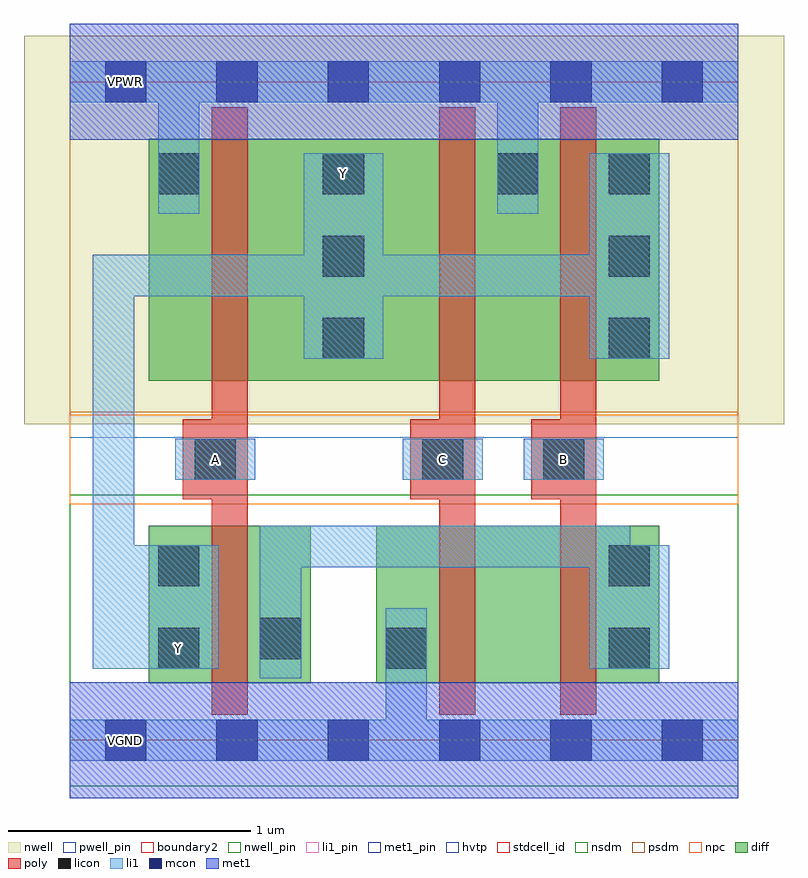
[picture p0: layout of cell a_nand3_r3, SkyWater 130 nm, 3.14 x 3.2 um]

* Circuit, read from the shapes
.subckt a_nand3_r3 A B C VGND VNB VPB VPWR Y
XM1 n1 A Y VNB sky130_fd_pr__nfet_01v8 w=0.65 l=0.15
XM2 n2 C VGND VNB sky130_fd_pr__nfet_01v8 w=0.65 l=0.15
XM3 n1 B n2 VNB sky130_fd_pr__nfet_01v8 w=0.65 l=0.15
XM4 Y A VPWR VPB sky130_fd_pr__pfet_01v8_hvt w=1 l=0.15
XM5 VPWR C Y VPB sky130_fd_pr__pfet_01v8_hvt w=1 l=0.15
XM6 Y B VPWR VPB sky130_fd_pr__pfet_01v8_hvt w=1 l=0.15
.ends

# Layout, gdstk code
import gdstk
lib = gdstk.Library(unit=1e-6, precision=1e-09)
def R(c, l, rs):  # rectangles x0, y0, x1, y1
    for r in rs: c.add(gdstk.rectangle(r[:2], r[2:], *l))
def A(c, l, x, y, w, h, nx, ny, dx, dy):  # array of equal rectangles
    R(c, l, [(x+i*dx, y+j*dy, x+i*dx+w, y+j*dy+h) for i in range(nx) for j in range(ny)])
nwell_pin = (64, 16)
nwell = (64, 20)
diff = (65, 20)
poly = (66, 20)
licon = (66, 44)
li1_pin = (67, 16)
li1 = (67, 20)
mcon = (67, 44)
met1_pin = (68, 16)
met1 = (68, 20)
hvtp = (78, 44)
stdcell_id = (81, 4)
nsdm = (93, 44)
psdm = (94, 20)
npc = (95, 20)
pwell_pin = (122, 16)
boundary2 = (236, 0)

a_nand3_r3 = lib.new_cell('a_nand3_r3')
R(a_nand3_r3, nwell_pin, [(0.145,2.635,0.315,2.805)])
R(a_nand3_r3, nwell, [(-0.19,1.305,2.95,2.91)])
R(a_nand3_r3, diff, [(0.325,0.235,0.995,0.885), (1.265,0.235,1.85,0.885), (1.85,0.235,2.435,0.885), (0.325,1.485,1.13,2.485), (1.13,1.485,1.85,2.485), (1.85,1.485,2.435,2.485)])
R(a_nand3_r3, poly, [(0.585,0.105,0.735,2.615), (1.525,0.105,1.675,2.615), (2.025,0.105,2.175,2.615), (0.465,0.995,0.735,1.325), (1.405,0.995,1.675,1.325), (1.905,0.995,2.175,1.325)])
A(a_nand3_r3, licon, 1.045, 1.575, 0.17, 0.17, 1, 3, 0, 0.34)
A(a_nand3_r3, licon, 2.225, 1.575, 0.17, 0.17, 1, 3, 0, 0.34)
R(a_nand3_r3, licon, [(0.365,0.295,0.535,0.465), (1.305,0.295,1.475,0.465), (2.225,0.295,2.395,0.465), (0.785,0.335,0.955,0.505), (0.365,0.635,0.535,0.805), (2.225,0.635,2.395,0.805), (0.515,1.075,0.685,1.245), (1.455,1.075,1.625,1.245), (1.955,1.075,2.125,1.245), (0.365,2.255,0.535,2.425), (1.765,2.255,1.935,2.425)])
R(a_nand3_r3, li1_pin, [(0.365,0.295,0.535,0.465), (0.515,1.075,0.685,1.245), (1.455,1.075,1.625,1.245), (1.955,1.075,2.125,1.245), (1.045,2.255,1.215,2.425)])
R(a_nand3_r3, li1, [(0,-0.085,2.76,0.085), (1.305,-0.085,1.475,0.545), (0.785,0.255,0.955,0.585), (0.095,0.295,0.455,0.465), (0.095,0.295,0.265,2.005), (0.265,0.295,0.285,0.465), (0.265,0.295,0.285,0.465), (0.265,0.295,0.285,0.465), (0.265,0.295,0.285,0.465), (0.265,0.295,0.285,0.805), (0.265,0.295,0.285,0.805), (0.265,0.295,0.285,0.805), (0.265,0.295,0.285,0.805), (0.285,0.295,0.615,0.465), (0.285,0.295,0.615,0.805), (2.145,0.295,2.475,0.465), (2.145,0.295,2.315,0.885), (2.145,0.295,2.475,0.805), (0.785,0.415,0.955,0.885), (0.785,0.585,0.955,0.715), (0.785,0.585,0.955,0.715), (0.785,0.585,0.955,0.715), (0.785,0.585,0.955,0.715), (0.785,0.715,2.315,0.885), (0.435,1.075,0.765,1.245), (1.375,1.075,1.705,1.245), (1.875,1.075,2.205,1.245), (0.965,1.575,1.295,2.085), (2.145,1.575,2.475,2.085), (0.095,1.835,1.135,2.005), (0.965,1.835,1.135,2.425), (0.965,1.835,2.315,2.005), (2.145,1.835,2.315,2.425), (0.965,1.915,1.295,2.425), (2.145,1.915,2.475,2.425), (0.365,2.175,0.535,2.805), (1.765,2.175,1.935,2.805), (0.965,2.255,1.295,2.425), (2.145,2.255,2.475,2.425), (0,2.635,2.76,2.805)])
A(a_nand3_r3, mcon, 0.145, -0.085, 0.17, 0.17, 6, 2, 0.46, 2.72)
R(a_nand3_r3, met1_pin, [(0.145,-0.085,0.315,0.085), (0.145,2.635,0.315,2.805)])
R(a_nand3_r3, met1, [(0,-0.24,2.76,0.24), (0,2.48,2.76,2.96)])
R(a_nand3_r3, hvtp, [(0,1.25,2.76,2.72)])
R(a_nand3_r3, stdcell_id, [(0,0,2.76,2.72)])
R(a_nand3_r3, nsdm, [(0,-0.19,2.76,1.015)])
R(a_nand3_r3, psdm, [(0,1.355,2.76,2.91)])
R(a_nand3_r3, npc, [(0,0.975,2.76,1.345)])
R(a_nand3_r3, pwell_pin, [(0.145,-0.085,0.315,0.085)])
R(a_nand3_r3, boundary2, [(0,0,2.76,2.72)])
a_nand3_r3.add(gdstk.Label('A', (0.6,1.16), layer=67, texttype=5))
a_nand3_r3.add(gdstk.Label('B', (2.04,1.16), layer=67, texttype=5))
a_nand3_r3.add(gdstk.Label('C', (1.54,1.16), layer=67, texttype=5))
a_nand3_r3.add(gdstk.Label('Y', (0.45,0.38), layer=67, texttype=5))
a_nand3_r3.add(gdstk.Label('Y', (1.13,2.34), layer=67, texttype=5))
a_nand3_r3.add(gdstk.Label('VGND', (0.23,0), layer=68, texttype=5))
a_nand3_r3.add(gdstk.Label('VPWR', (0.23,2.72), layer=68, texttype=5))
a_nand3_r3.add(gdstk.Label('VPB', (0.23,2.72), layer=64, texttype=5))
a_nand3_r3.add(gdstk.Label('VNB', (0.23,0), layer=64, texttype=59))

lib.write_gds('a_nand3_r3.gds')
